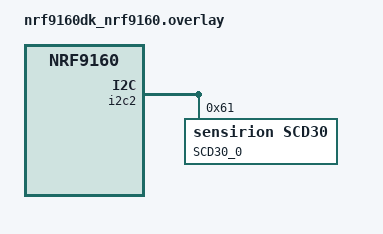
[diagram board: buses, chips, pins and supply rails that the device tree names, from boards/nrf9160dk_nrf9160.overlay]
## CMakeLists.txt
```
#
# Copyright (c) 2021 Advanced Climate Systems
#
# SPDX-License-Identifier: Apache-2.0
#

cmake_minimum_required(VERSION 3.20.0)
find_package(Zephyr REQUIRED HINTS $ENV{ZEPHYR_BASE})
project(scd30)

FILE(GLOB app_sources src/*.c)
target_sources(app PRIVATE ${app_sources})
```

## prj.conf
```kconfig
#
# Copyright (c) 2021 Advanced Climate Systems
#
# SPDX-License-Identifier: Apache-2.0
#

CONFIG_STDOUT_CONSOLE=y
CONFIG_I2C=y
CONFIG_SENSOR=y
CONFIG_SCD30=y
CONFIG_CBPRINTF_FP_SUPPORT=y
```

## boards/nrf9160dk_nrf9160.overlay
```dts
/*
 * Copyright (c) 2021 Advanced Climate Systems
 *
 * SPDX-License-Identifier: Apache-2.0
 */

&i2c2 {
    status = "okay";

    scd30_0@61 {
		compatible = "sensirion,scd30";
		reg = <0x61>;
		label = "SCD30_0";
		sample-period = <30>;
	};
};
```

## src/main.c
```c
/*
 * Copyright (c) 2021 Advanced Climate Systems
 *
 * SPDX-License-Identifier: Apache-2.0
 */

#include <zephyr.h>
#include <device.h>
#include <drivers/sensor.h>
#include <stdio.h>

#define SCD30_SAMPLE_TIME_SECONDS 5U

void main(void)
{
	const struct device *dev = DEVICE_DT_GET_ANY(sensirion_scd30);
	struct sensor_value sample_period = {
		.val1 = SCD30_SAMPLE_TIME_SECONDS,
	};
	int rc;

	if (!device_is_ready(dev)) {
		printf("Could not get SCD30 device\n");
		return;
	}

	rc = sensor_attr_set(dev, SENSOR_CHAN_ALL,
				SENSOR_ATTR_SAMPLING_PERIOD, &sample_period);
	if (rc != 0) {
		printk("Failed to set sample period. (%d)", rc);
		return;
	}

	while (true) {
		struct sensor_value co2_concentration;

		rc = sensor_sample_fetch(dev);
		if (rc == 0) {
			rc = sensor_channel_get(dev, SENSOR_CHAN_CO2, &co2_concentration);
		}

		if (rc == -ENODATA) {
			printk("SCD30: no new measurment yet.\n");
			printk("Waiting for 1 second and retrying...\n");
			k_sleep(K_SECONDS(1));
			continue;
		} else if (rc != 0) {
			printf("SCD30 channel get: failed: %d\n", rc);
			break;
		}

		printf("SCD30: %d ppm\n", co2_concentration.val1);

		k_sleep(K_SECONDS(SCD30_SAMPLE_TIME_SECONDS));
	}
}
```
